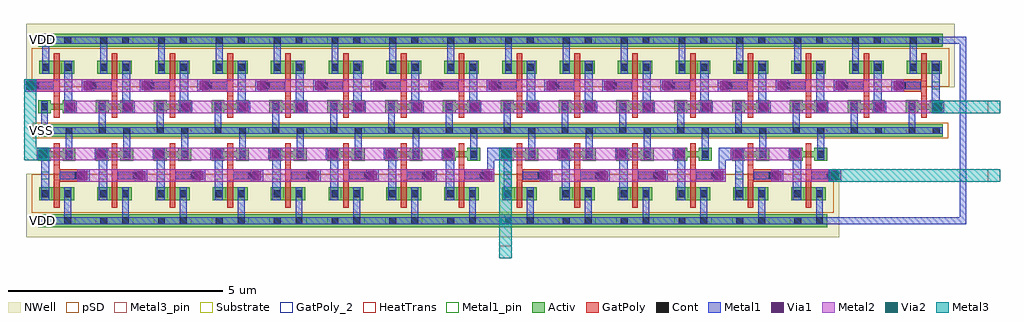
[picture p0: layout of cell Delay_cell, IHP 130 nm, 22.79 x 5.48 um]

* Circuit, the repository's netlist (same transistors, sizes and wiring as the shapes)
** sch_path: /home/designer/shared/Training/GROTDC/GROTDC_marzo/GRO-TDC/Delay_cell.sch
.subckt Delay_cell VDD IN OUT1 OUT2 VSS
*.PININFO IN:I VDD:B VSS:B OUT1:O OUT2:O
x5[1] VDD net1 IN VSS INV_D1
x5[0] VDD net1 IN VSS INV_D1
x6[3] VDD OUT1 net1 VSS INV_D1
x6[2] VDD OUT1 net1 VSS INV_D1
x6[1] VDD OUT1 net1 VSS INV_D1
x6[0] VDD OUT1 net1 VSS INV_D1
x7[7] VDD net2 OUT1 VSS INV_D1
x7[6] VDD net2 OUT1 VSS INV_D1
x7[5] VDD net2 OUT1 VSS INV_D1
x7[4] VDD net2 OUT1 VSS INV_D1
x7[3] VDD net2 OUT1 VSS INV_D1
x7[2] VDD net2 OUT1 VSS INV_D1
x7[1] VDD net2 OUT1 VSS INV_D1
x7[0] VDD net2 OUT1 VSS INV_D1
x8[15] VDD OUT2 net2 VSS INV_D1
x8[14] VDD OUT2 net2 VSS INV_D1
x8[13] VDD OUT2 net2 VSS INV_D1
x8[12] VDD OUT2 net2 VSS INV_D1
x8[11] VDD OUT2 net2 VSS INV_D1
x8[10] VDD OUT2 net2 VSS INV_D1
x8[9] VDD OUT2 net2 VSS INV_D1
x8[8] VDD OUT2 net2 VSS INV_D1
x8[7] VDD OUT2 net2 VSS INV_D1
x8[6] VDD OUT2 net2 VSS INV_D1
x8[5] VDD OUT2 net2 VSS INV_D1
x8[4] VDD OUT2 net2 VSS INV_D1
x8[3] VDD OUT2 net2 VSS INV_D1
x8[2] VDD OUT2 net2 VSS INV_D1
x8[1] VDD OUT2 net2 VSS INV_D1
x8[0] VDD OUT2 net2 VSS INV_D1
.ends

* expanding   symbol:  /home/designer/shared/Training/GROTDC/GROTDC_marzo/GRO-TDC/std_cells/INV_D1.sym # of pins=4
** sym_path: /home/designer/shared/Training/GROTDC/GROTDC_marzo/GRO-TDC/std_cells/INV_D1.sym
** sch_path: /home/designer/shared/Training/GROTDC/GROTDC_marzo/GRO-TDC/std_cells/INV_D1.sch
.subckt INV_D1 VDD VOUT VIN VSS
*.PININFO VDD:B VSS:B VOUT:O VIN:I
M2 VOUT VIN VDD VDD sg13_lv_pmos w=0.3u l=0.13u ng=1 m=1
M1 VOUT VIN VSS VSS sg13_lv_nmos w=0.15u l=0.13u ng=1 m=1
.ends

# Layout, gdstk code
from math import pi, radians
import gdstk
lib = gdstk.Library(unit=1e-6, precision=5e-09)
def R(c, l, rs):  # rectangles x0, y0, x1, y1
    for r in rs: c.add(gdstk.rectangle(r[:2], r[2:], *l))
Activ = (1, 0)
GatPoly = (5, 0)
GatPoly_2 = (5, 2)
Cont = (6, 0)
Metal1 = (8, 0)
Metal1_pin = (8, 2)
Metal2 = (10, 0)
pSD = (14, 0)
Via1 = (19, 0)
Via2 = (29, 0)
Metal3 = (30, 0)
Metal3_pin = (30, 2)
NWell = (31, 0)
Substrate = (40, 0)
HeatTrans = (51, 0)

nmos_13 = lib.new_cell('nmos$13')
R(nmos_13, Activ, [(0,0,0.3,0.3), (0.57,0,0.87,0.3), (0,0.075,0.87,0.225)])
R(nmos_13, GatPoly, [(0.37,-0.105,0.5,0.405)])
R(nmos_13, GatPoly_2, [(0.37,-0.105,0.5,0.405)])
R(nmos_13, Cont, [(0.07,0.07,0.23,0.23), (0.64,0.07,0.8,0.23)])
R(nmos_13, Metal1, [(0.07,0.02,0.23,0.28), (0.64,0.02,0.8,0.28)])
R(nmos_13, Metal1_pin, [(0.07,0.02,0.23,0.28), (0.64,0.02,0.8,0.28)])
R(nmos_13, HeatTrans, [(0.37,-0.105,0.5,0.405)])
nmos_13.add(gdstk.Label('nmos', (0.435,0.15), layer=63, texttype=0))
nmos_13.add(gdstk.Label('nmos', (0.435,0.15), layer=51, texttype=0))

pmos_1_10 = lib.new_cell('pmos$1$10')
R(pmos_1_10, Activ, [(0,0,0.3,0.3), (0,0,0.81,0.3), (0.51,0,0.81,0.3)])
R(pmos_1_10, GatPoly, [(0.34,-0.18,0.47,0.48), (0.34,-0.18,0.47,0.48)])
R(pmos_1_10, Cont, [(0.07,0.07,0.23,0.23), (0.58,0.07,0.74,0.23)])
R(pmos_1_10, Metal1, [(0.07,0,0.23,0.3), (0.07,0,0.23,0.3), (0.58,0,0.74,0.3), (0.58,0,0.74,0.3)])
R(pmos_1_10, pSD, [(-0.18,-0.3,0.99,0.6)])
R(pmos_1_10, NWell, [(-0.31,-0.31,1.12,0.61)])
R(pmos_1_10, Substrate, [(0.51,0,0.81,0.3)])
R(pmos_1_10, HeatTrans, [(0.34,-0.18,0.47,0.48)])
pmos_1_10.add(gdstk.Label('pmos', (0.405,0.15), layer=63, texttype=0))
pmos_1_10.add(gdstk.Label('pmos', (0.405,0.15), layer=51, texttype=0))

via1_constraint_10 = lib.new_cell('Via1_constraint$10')
R(via1_constraint_10, Metal1, [(0,0,0.29,0.29)])
R(via1_constraint_10, Metal2, [(0,0,0.29,0.29)])
R(via1_constraint_10, Via1, [(0.05,0.05,0.24,0.24)])

inv_d1_10 = lib.new_cell('INV_D1$10')
R(inv_d1_10, Activ, [(0.28,0.03,1.15,0.33), (0.28,2.135,1.15,2.435)])
R(inv_d1_10, GatPoly, [(0.06,1.08,0.65,1.38), (0.65,1.11,0.78,1.325)])
R(inv_d1_10, GatPoly_2, [(0.06,1.08,0.65,1.38)])
R(inv_d1_10, Cont, [(0.35,0.1,0.51,0.26), (0.92,0.1,1.08,0.26), (0.13,1.15,0.29,1.31), (0.38,2.205,0.54,2.365), (0.89,2.205,1.05,2.365)])
R(inv_d1_10, Metal1, [(0.28,0.1,1.15,0.26), (0.07,1.14,0.64,1.32), (0.28,2.205,1.15,2.365)])
R(inv_d1_10, Metal1_pin, [(0.28,0.1,1.15,0.26), (0.07,1.14,0.64,1.32), (0.89,1.14,1.08,1.32), (0.28,2.205,1.15,2.365)])
R(inv_d1_10, pSD, [(0.15,0,1.28,0.36)])
R(inv_d1_10, NWell, [(0,2.115,1.43,2.675)])
R(inv_d1_10, Substrate, [(0.82,1.505,1.12,1.805)])
inv_d1_10.add(gdstk.FlexPath([(0.46,1.805),(0.46,2.365)], 0.16, ends="flush", simple_path=True, layer=8, datatype=0))  # Metal1
inv_d1_10.add(gdstk.FlexPath([(0.985,0.585),(0.985,1.805)], 0.19, ends="flush", simple_path=True, layer=8, datatype=0))  # Metal1
inv_d1_10.add(gdstk.FlexPath([(0.43,0.865),(0.43,0.1)], 0.16, ends="flush", simple_path=True, layer=8, datatype=0))  # Metal1
inv_d1_10.add(gdstk.FlexPath([(0.715,1.11),(0.715,0.99)], 0.13, ends="flush", simple_path=True, layer=5, datatype=0))  # GatPoly
inv_d1_10.add(gdstk.Reference(nmos_13, (0.28,0.585)))
inv_d1_10.add(gdstk.Reference(pmos_1_10, (0.31,1.505)))
inv_d1_10.add(gdstk.Reference(via1_constraint_10, (-0.05,1.085)))
inv_d1_10.add(gdstk.Reference(via1_constraint_10, (0.89,0.585)))
inv_d1_10.add(gdstk.Label('nmos', (0.715,0.655), layer=63, texttype=0))
inv_d1_10.add(gdstk.Label('VIN', (0.285,1.175), layer=8, texttype=25))
inv_d1_10.add(gdstk.Label('VOUT', (1.03,1.165), layer=8, texttype=25))
inv_d1_10.add(gdstk.Label('VDD', (0.655,2.28), layer=8, texttype=25))
inv_d1_10.add(gdstk.Label('VSS', (0.65,0.175), layer=8, texttype=25))

delay_cell_placement = lib.new_cell('Delay_cell_placement')
r = gdstk.Reference(inv_d1_10, (0,2.315)); r.repetition = gdstk.Repetition(16, 1, v1=(1.35,0), v2=(0,0)); delay_cell_placement.add(r)
r = gdstk.Reference(inv_d1_10, (18.98,2.675), rotation=pi); r.repetition = gdstk.Repetition(14, 1, v1=(-1.35,0), v2=(0,0)); delay_cell_placement.add(r)

via2_constraint_12 = lib.new_cell('Via2_constraint$12')
R(via2_constraint_12, Metal2, [(0,0,0.29,0.29)])
R(via2_constraint_12, Via2, [(0.05,0.05,0.24,0.24)])
R(via2_constraint_12, Metal3, [(0,0,0.29,0.29)])

delay_cell_routed = lib.new_cell('Delay_cell_routed')
R(delay_cell_routed, Activ, [(0.33,0.73,18.1,1.03), (0.33,2.835,21.45,3.135), (0.33,4.94,21.45,5.24)])
R(delay_cell_routed, Metal1, [(0.33,0.8,18.1,0.96), (18.75,0.8,22,0.96), (21.84,0.8,22,5.17), (10.82,1.79,10.98,2.58), (16.22,1.79,16.38,2.58), (10.82,2.29,11.39,2.58), (16.22,2.29,16.79,2.58), (0.33,2.905,21.45,3.065), (0.33,5.01,21.45,5.17), (20.1,5.01,22,5.17)])
R(delay_cell_routed, Metal2, [(1.24,1.79,10.98,2.08), (12.04,1.79,16.38,2.08), (17.44,1.79,19.08,2.08), (0.3,2.29,10.04,2.58), (11.1,2.29,15.44,2.58), (16.5,2.29,18.14,2.58), (0.94,3.39,21.48,3.68), (0,3.89,20.54,4.18)])
R(delay_cell_routed, pSD, [(0.18,1.06,18.25,1.96), (0.2,2.805,21.58,3.165), (0.18,4.01,21.6,4.91)])
R(delay_cell_routed, Metal3, [(11.1,0,11.39,2.58), (18.79,1.79,22.785,2.08), (0,2.29,0.29,4.18), (0,2.29,0.59,2.58), (21.19,3.39,22.785,3.68)])
R(delay_cell_routed, Metal3_pin, [(11.1,0,11.39,0.29), (22.495,1.79,22.785,2.08), (22.495,3.39,22.785,3.68)])
delay_cell_routed.add(gdstk.Reference(delay_cell_placement, (0.05,0.49)))
delay_cell_routed.add(gdstk.Reference(via2_constraint_12, (11.1,2.29)))
delay_cell_routed.add(gdstk.Reference(via2_constraint_12, (21.19,3.39)))
delay_cell_routed.add(gdstk.Reference(via2_constraint_12, (0,3.89)))
delay_cell_routed.add(gdstk.Reference(via2_constraint_12, (0.3,2.29)))
delay_cell_routed.add(gdstk.Reference(via2_constraint_12, (18.79,1.79)))
delay_cell_routed.add(gdstk.Label('VDD', (0.73,5.065), layer=8, texttype=25))
delay_cell_routed.add(gdstk.Label('VSS', (1.27,2.97), layer=8, texttype=25))
delay_cell_routed.add(gdstk.Label('OUT1', (11.25,0.13), layer=30, texttype=25))
delay_cell_routed.add(gdstk.Label('OUT2', (22.6,3.545), layer=30, texttype=25))
delay_cell_routed.add(gdstk.Label('IN', (22.585,1.945), layer=30, texttype=25))

delay_cell = lib.new_cell('Delay_cell')
R(delay_cell, Metal1_pin, [(0.365,0.815,0.495,0.945), (0.355,2.925,0.485,3.055), (0.365,5.035,0.495,5.165)])
delay_cell.add(gdstk.Reference(delay_cell_routed, (0,0)))
delay_cell.add(gdstk.Label('VDD', (0.43,5.1), layer=8, texttype=25))
delay_cell.add(gdstk.Label('VDD', (0.43,0.88), layer=8, texttype=25))
delay_cell.add(gdstk.Label('VSS', (0.42,2.99), layer=8, texttype=25))

lib.write_gds('Delay_cell.gds')
